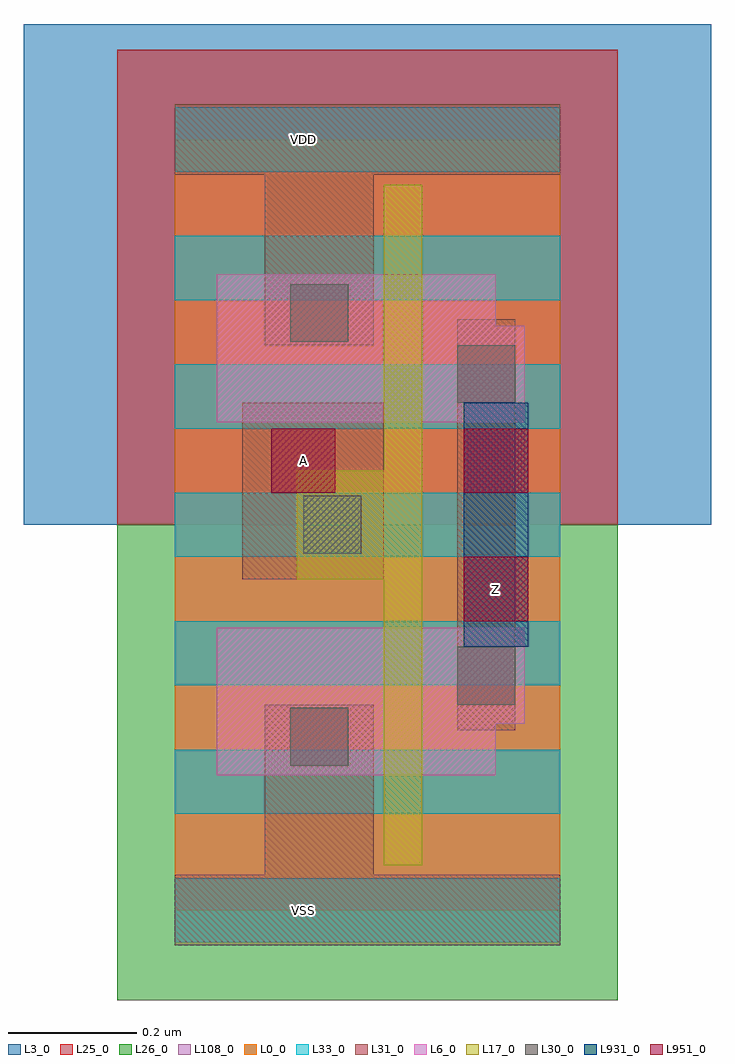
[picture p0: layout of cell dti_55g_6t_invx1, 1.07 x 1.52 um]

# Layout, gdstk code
from math import pi, radians
import gdstk
lib = gdstk.Library(unit=1e-6, precision=1e-09)
def R(c, l, rs):  # rectangles x0, y0, x1, y1
    for r in rs: c.add(gdstk.rectangle(r[:2], r[2:], *l))
def P(c, l, *ps):  # polygons
    for p in ps: c.add(gdstk.Polygon(p, *l))
L0_0 = (0, 0)
L3_0 = (3, 0)
L6_0 = (6, 0)
L17_0 = (17, 0)
L25_0 = (25, 0)
L26_0 = (26, 0)
L30_0 = (30, 0)
L31_0 = (31, 0)
L33_0 = (33, 0)
L108_0 = (108, 0)
L931_0 = (931, 0)
L951_0 = (951, 0)

template_6g_055_updated_ = lib.new_cell('template_6g_055_updated_June_13th')
R(template_6g_055_updated_, L31_0, [(0,-0.055,0.2,0.055), (0,1.145,0.2,1.255)])

cellgrid_withm3_updated_ = lib.new_cell('cellgrid_withM3_updated_June_13th')
R(cellgrid_withm3_updated_, L0_0, [(0,0,0.2,0.2)])
R(cellgrid_withm3_updated_, L33_0, [(0,-0.05,0.2,0.05), (0,0.15,0.2,0.25)])
cellgrid_withm3_updated_.add(gdstk.FlexPath([(0,0),(0.2,0.2),(0,0.2),(0.2,0)], 0, ends="flush", simple_path=True, layer=0, datatype=0))  # L0_0

nmos_15_n_2 = lib.new_cell('nmos_15_n_2')
R(nmos_15_n_2, L6_0, [(-0.115,0,0.175,0.15)])
R(nmos_15_n_2, L17_0, [(0,-0.14,0.06,0.29)])
R(nmos_15_n_2, L26_0, [(-0.245,-0.16,0.305,0.31)])

pmos_2_n_2 = lib.new_cell('pmos_2_n_2')
R(pmos_2_n_2, L3_0, [(-0.275,-0.16,0.335,0.36)])
R(pmos_2_n_2, L6_0, [(-0.115,0,0.175,0.2)])
R(pmos_2_n_2, L17_0, [(0,-0.14,0.06,0.34)])
R(pmos_2_n_2, L25_0, [(-0.245,-0.16,0.305,0.36)])

cnt_n = lib.new_cell('cnt_n')
R(cnt_n, L6_0, [(-0.06,-0.075,0.06,0.075)])
R(cnt_n, L30_0, [(-0.045,-0.045,0.045,0.045)])
R(cnt_n, L31_0, [(-0.045,-0.045,0.045,0.045)])

cnt = lib.new_cell('cnt')
R(cnt, L30_0, [(-0.045,-0.045,0.045,0.045)])
R(cnt, L31_0, [(-0.045,-0.045,0.045,0.045)])

cnt_p = lib.new_cell('cnt_p')
R(cnt_p, L6_0, [(-0.06,-0.075,0.06,0.075)])
cnt_p.add(gdstk.Reference(cnt, (0,0)))

pcnt_v = lib.new_cell('pcnt_v')
R(pcnt_v, L17_0, [(-0.055,-0.085,0.055,0.085)])
pcnt_v.add(gdstk.Reference(cnt, (0,0)))

via_std_block = lib.new_cell('via_std_block')
R(via_std_block, L951_0, [(-0.05,-0.05,0.05,0.05)])
via_std_block.add(gdstk.FlexPath([(-0.05,-0.05),(0.05,0.05)], 0, ends="flush", simple_path=True, layer=0, datatype=0))  # L0_0
via_std_block.add(gdstk.FlexPath([(0.05,-0.05),(-0.05,0.05)], 0, ends="flush", simple_path=True, layer=0, datatype=0))  # L0_0

via_std_block_edge_9 = lib.new_cell('via_std_block_edge_9')
R(via_std_block_edge_9, L931_0, [(-0.05,-0.09,0.05,0.29)])
r = gdstk.Reference(via_std_block, (0,0)); r.repetition = gdstk.Repetition(1, 2, v1=(0,0), v2=(0,0.2)); via_std_block_edge_9.add(r)

dti_55g_6t_invx1 = lib.new_cell('dti_55g_6t_invx1')
R(dti_55g_6t_invx1, L3_0, [(-0.235,0.6,0,1.2), (0,0.6,0.6,1.2), (0.6,0.6,0.835,1.2), (-0.235,1.2,0.835,1.38)])
R(dti_55g_6t_invx1, L6_0, [(0.065,0.21,0.33,0.44), (0.065,0.76,0.33,0.99)])
P(dti_55g_6t_invx1, L17_0, [(0.325,0.5),(0.325,0.515),(0.24,0.515),(0.24,0.685),(0.35,0.685),(0.35,0.65),(0.385,0.65),(0.385,0.5)])
R(dti_55g_6t_invx1, L25_0, [(-0.09,0.6,0,1.2), (0,0.6,0.6,1.2), (0.6,0.6,0.69,1.2), (-0.09,1.2,0.69,1.34)])
R(dti_55g_6t_invx1, L26_0, [(-0.09,-0.14,0.69,0), (-0.09,0,0,0.6), (0,0,0.6,0.6), (0.6,0,0.69,0.6)])
R(dti_55g_6t_invx1, L31_0, [(0.14,0,0.31,0.32), (0.44,0.28,0.53,0.92), (0.105,0.515,0.325,0.79), (0.14,0.88,0.31,1.2)])
P(dti_55g_6t_invx1, L31_0, [(0.145,0.72),(0.145,0.72),(0.145,0.72),(0.145,0.72)])
R(dti_55g_6t_invx1, L108_0, [(0,0,0.6,1.2)])
r = gdstk.Reference(template_6g_055_updated_, (0,0)); r.repetition = gdstk.Repetition(3, 1, v1=(0.2,0), v2=(0,0)); dti_55g_6t_invx1.add(r)
r = gdstk.Reference(cellgrid_withm3_updated_, (0,0)); r.repetition = gdstk.Repetition(3, 6, v1=(0.2,0), v2=(0,0.2)); dti_55g_6t_invx1.add(r)
r = gdstk.Reference(nmos_15_n_2, (0.325,0.21)); r.repetition = gdstk.Repetition(1, 2, v1=(0,0), v2=(0,0.08)); dti_55g_6t_invx1.add(r)
r = gdstk.Reference(pmos_2_n_2, (0.325,0.76)); r.repetition = gdstk.Repetition(1, 2, v1=(0,0), v2=(0,0.03)); dti_55g_6t_invx1.add(r)
dti_55g_6t_invx1.add(gdstk.Reference(cnt_n, (0.225,0.27), rotation=pi/2, x_reflection=True))
dti_55g_6t_invx1.add(gdstk.Reference(cnt_p, (0.225,0.93), rotation=3*pi/2))
dti_55g_6t_invx1.add(gdstk.Reference(pcnt_v, (0.245,0.6), rotation=pi))
dti_55g_6t_invx1.add(gdstk.Reference(cnt_n, (0.485,0.365), rotation=pi, x_reflection=True))
dti_55g_6t_invx1.add(gdstk.Reference(cnt_p, (0.485,0.835), rotation=pi))
dti_55g_6t_invx1.add(gdstk.Reference(via_std_block, (0.2,0.7)))
dti_55g_6t_invx1.add(gdstk.Reference(via_std_block_edge_9, (0.5,0.5)))
dti_55g_6t_invx1.add(gdstk.Label('A', (0.2,0.7), layer=131, texttype=0))
dti_55g_6t_invx1.add(gdstk.Label('VSS', (0.2,0), layer=131, texttype=0))
dti_55g_6t_invx1.add(gdstk.Label('VDD', (0.2,1.2), layer=131, texttype=0))
dti_55g_6t_invx1.add(gdstk.Label('Z', (0.5,0.5), layer=131, texttype=0))

lib.write_gds('dti_55g_6t_invx1.gds')
